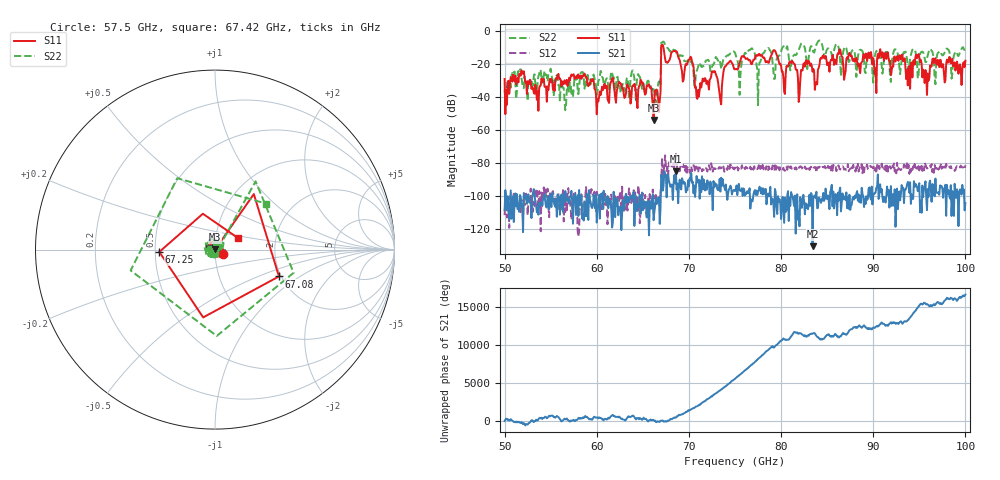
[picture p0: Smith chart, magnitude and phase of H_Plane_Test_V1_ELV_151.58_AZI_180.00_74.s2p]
! 11/27/2026 8:51:31 AM
! C:\ANRITSUVNA\TEMP\TEMP.S2P
! CHANNEL.1
! TR.MEASUREMENT
! RAW.DATA
# HZ S RI R 50.0
! FREQ.HZ  S11RE  S11IM  S21RE  S21IM  S12RE  S12IM  S22RE  S22IM
!; PortSelection: Port_12
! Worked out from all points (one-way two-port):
!   601 points, 50 GHz to 100 GHz, reference 50 ohm
!   highest |S21| = -84.93 dB at 68.58 GHz (marker M1); lowest = -130.5 dB at 83.42 GHz (marker M2)
!   lowest |S11| = -53.8 dB at 66.17 GHz (marker M3), VSWR 1.00, Z = 50.1 + j0.149 ohm
!   |S11| at or under -10 dB: start of sweep to 67 GHz; 67.24 GHz to end of sweep
!   |S22| runs from -47.9 to -5.6 dB; largest |S21 - S12| = 0.00016
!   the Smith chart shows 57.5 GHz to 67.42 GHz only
!   S11 on the Smith chart (normalised r, x): 57.5 GHz: 1.09, -0.05; 67.08 GHz: 1.95, -0.68; 67.25 GHz: 0.53, -0.01; 67.42 GHz: 1.29, +0.17
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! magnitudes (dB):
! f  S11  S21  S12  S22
! 50 GHz  -29.0  -108.5  -111.6  -35.8
! 51.67 GHz  -26.2  -99.4  -99.3  -23.2
! 57.5 GHz  -26.1  -102.1  -98.0  -34.5
! 58.42 GHz  -27.2  -113.7  -108.9  -24.7
! 60.17 GHz  -42.6  -105.9  -99.9  -30.3
! 66.17 GHz  -53.8  -114.7  -110.6  -34.0
! 66.67 GHz  -41.8  -100.9  -102.8  -31.6
! 67.08 GHz  -8.3  -89.6  -76.9  -6.8
! 67.25 GHz  -10.2  -93.5  -84.9  -6.3
! 67.42 GHz  -16.8  -87.3  -75.3  -8.3
! 68.58 GHz  -12.1  -84.9  -74.5  -12.2
! 70.25 GHz  -15.9  -86.1  -82.1  -18.7
! 70.92 GHz  -41.0  -91.8  -82.9  -23.1
! 75 GHz  -23.1  -97.0  -82.7  -13.0
! 79.25 GHz  -11.4  -112.6  -84.0  -29.0
! 80.25 GHz  -27.9  -109.0  -82.8  -9.3
! 83.42 GHz  -24.5  -130.5  -83.8  -10.9
! 91.67 GHz  -16.6  -96.3  -81.0  -15.3
! 93.75 GHz  -32.9  -91.5  -83.1  -21.5
! 94.83 GHz  -14.9  -97.1  -83.5  -28.7
! 95.83 GHz  -38.7  -108.6  -83.3  -16.6
! 100 GHz  -17.9  -104.3  -81.3  -12.5
